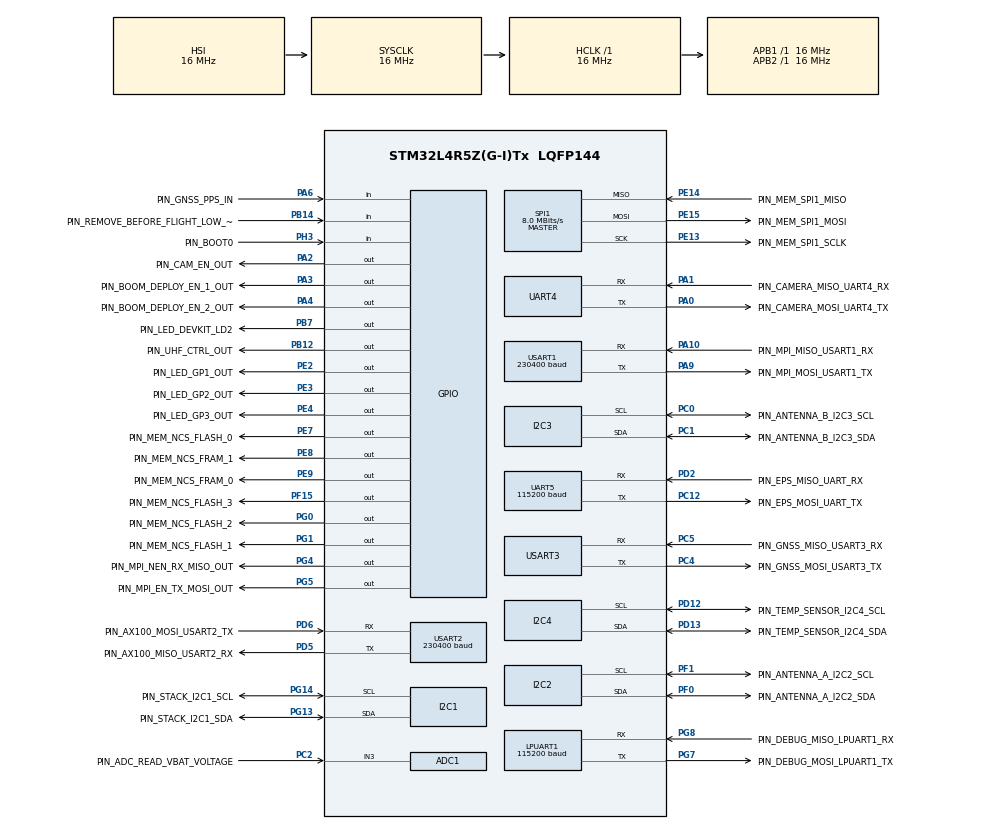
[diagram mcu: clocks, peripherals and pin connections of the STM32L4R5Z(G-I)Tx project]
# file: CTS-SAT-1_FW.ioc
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ADC1.Channel-0\#ChannelRegularConversion=ADC_CHANNEL_3
ADC1.ClockPrescaler=ADC_CLOCK_ASYNC_DIV8
ADC1.NbrOfConversionFlag=1
ADC1.OffsetNumber-0\#ChannelRegularConversion=ADC_OFFSET_NONE
ADC1.Rank-0\#ChannelRegularConversion=1
ADC1.SamplingTime-0\#ChannelRegularConversion=ADC_SAMPLETIME_2CYCLES_5
ADC1.master=1
Dma.Request0=USART1_RX
Dma.Request1=UART4_RX
Dma.Request2=SPI1_RX
Dma.Request3=SPI1_TX
Dma.SPI1_RX.2.Direction=DMA_PERIPH_TO_MEMORY
Dma.SPI1_RX.2.EventEnable=DISABLE
Dma.SPI1_RX.2.Instance=DMA1_Channel3
Dma.SPI1_RX.2.MemDataAlignment=DMA_MDATAALIGN_BYTE
Dma.SPI1_RX.2.MemInc=DMA_MINC_ENABLE
Dma.SPI1_RX.2.Mode=DMA_NORMAL
Dma.SPI1_RX.2.PeriphDataAlignment=DMA_PDATAALIGN_BYTE
Dma.SPI1_RX.2.PeriphInc=DMA_PINC_DISABLE
Dma.SPI1_RX.2.Polarity=HAL_DMAMUX_REQUEST_GEN_RISING
Dma.SPI1_RX.2.Priority=DMA_PRIORITY_LOW
Dma.SPI1_RX.2.RequestNumber=1
Dma.SPI1_RX.2.SignalID=NONE
Dma.SPI1_RX.2.SyncEnable=DISABLE
Dma.SPI1_RX.2.SyncPolarity=HAL_DMAMUX_SYNC_NO_EVENT
Dma.SPI1_RX.2.SyncRequestNumber=1
Dma.SPI1_RX.2.SyncSignalID=NONE
Dma.SPI1_TX.3.Direction=DMA_MEMORY_TO_PERIPH
Dma.SPI1_TX.3.EventEnable=DISABLE
Dma.SPI1_TX.3.Instance=DMA1_Channel4
Dma.SPI1_TX.3.MemDataAlignment=DMA_MDATAALIGN_BYTE
Dma.SPI1_TX.3.MemInc=DMA_MINC_ENABLE
Dma.SPI1_TX.3.Mode=DMA_NORMAL
Dma.SPI1_TX.3.PeriphDataAlignment=DMA_PDATAALIGN_BYTE
Dma.SPI1_TX.3.PeriphInc=DMA_PINC_DISABLE
Dma.SPI1_TX.3.Polarity=HAL_DMAMUX_REQUEST_GEN_RISING
Dma.SPI1_TX.3.Priority=DMA_PRIORITY_LOW
Dma.SPI1_TX.3.RequestNumber=1
Dma.SPI1_TX.3.SignalID=NONE
Dma.SPI1_TX.3.SyncEnable=DISABLE
Dma.SPI1_TX.3.SyncPolarity=HAL_DMAMUX_SYNC_NO_EVENT
Dma.SPI1_TX.3.SyncRequestNumber=1
Dma.SPI1_TX.3.SyncSignalID=NONE
Dma.UART4_RX.1.Direction=DMA_PERIPH_TO_MEMORY
Dma.UART4_RX.1.EventEnable=DISABLE
Dma.UART4_RX.1.Instance=DMA1_Channel1
Dma.UART4_RX.1.MemDataAlignment=DMA_MDATAALIGN_BYTE
Dma.UART4_RX.1.MemInc=DMA_MINC_ENABLE
Dma.UART4_RX.1.Mode=DMA_CIRCULAR
Dma.UART4_RX.1.PeriphDataAlignment=DMA_PDATAALIGN_BYTE
Dma.UART4_RX.1.PeriphInc=DMA_PINC_DISABLE
Dma.UART4_RX.1.Polarity=HAL_DMAMUX_REQUEST_GEN_RISING
Dma.UART4_RX.1.Priority=DMA_PRIORITY_LOW
Dma.UART4_RX.1.RequestNumber=1
Dma.UART4_RX.1.SignalID=NONE
Dma.UART4_RX.1.SyncEnable=DISABLE
Dma.UART4_RX.1.SyncPolarity=HAL_DMAMUX_SYNC_NO_EVENT
Dma.UART4_RX.1.SyncRequestNumber=1
Dma.UART4_RX.1.SyncSignalID=NONE
Dma.USART1_RX.0.Direction=DMA_PERIPH_TO_MEMORY
Dma.USART1_RX.0.EventEnable=DISABLE
Dma.USART1_RX.0.Instance=DMA1_Channel2
Dma.USART1_RX.0.MemDataAlignment=DMA_MDATAALIGN_BYTE
Dma.USART1_RX.0.MemInc=DMA_MINC_ENABLE
Dma.USART1_RX.0.Mode=DMA_CIRCULAR
Dma.USART1_RX.0.PeriphDataAlignment=DMA_PDATAALIGN_BYTE
Dma.USART1_RX.0.PeriphInc=DMA_PINC_DISABLE
Dma.USART1_RX.0.Polarity=HAL_DMAMUX_REQUEST_GEN_RISING
Dma.USART1_RX.0.Priority=DMA_PRIORITY_LOW
Dma.USART1_RX.0.RequestNumber=1
Dma.USART1_RX.0.SignalID=NONE
Dma.USART1_RX.0.SyncEnable=DISABLE
Dma.USART1_RX.0.SyncPolarity=HAL_DMAMUX_SYNC_NO_EVENT
Dma.USART1_RX.0.SyncRequestNumber=1
Dma.USART1_RX.0.SyncSignalID=NONE
FREERTOS.Tasks01=defaultTask,24,128,StartDefaultTask,Default,NULL,Dynamic,NULL,NULL
FREERTOS.configCHECK_FOR_STACK_OVERFLOW=1
FREERTOS.configGENERATE_RUN_TIME_STATS=1
FREERTOS.configLIBRARY_MAX_SYSCALL_INTERRUPT_PRIORITY=3
FREERTOS.configMAX_TASK_NAME_LEN=64
FREERTOS.configRECORD_STACK_HIGH_ADDRESS=1
FREERTOS.configTOTAL_HEAP_SIZE=131072
FREERTOS.configUSE_MALLOC_FAILED_HOOK=1
FREERTOS.configUSE_NEWLIB_REENTRANT=1
FREERTOS.configUSE_PREEMPTION=0
I2C1.OwnAddress=12
I2C1.Timing=0x00503D58
I2C2.Timing=0x00503D58
I2C3.Timing=0x00503D58
I2C4.Timing=0x00503D58
IWDG.Prescaler=IWDG_PRESCALER_256
IWDG.Reload=2000
IWDG.Window=1975
LPUART1.BaudRate=115200
LPUART1.FifoMode=UART_FIFOMODE_ENABLE
LPUART1.WordLength=UART_WORDLENGTH_8B
Mcu.Family=STM32L4
Mcu.Name=STM32L4R5Z(G-I)Tx
Mcu.Package=LQFP144
NVIC.DMA1_Channel1_IRQn=true\:5\:0\:true\:false\:true\:true\:false\:true\:true
NVIC.DMA1_Channel2_IRQn=true\:5\:0\:true\:false\:true\:true\:false\:true\:true
NVIC.DMA1_Channel3_IRQn=true\:5\:0\:true\:false\:true\:true\:false\:true\:true
NVIC.DMA1_Channel4_IRQn=true\:5\:0\:true\:false\:true\:true\:false\:true\:true
NVIC.I2C1_ER_IRQn=true\:5\:0\:true\:false\:true\:true\:true\:true\:true
NVIC.I2C1_EV_IRQn=true\:5\:0\:true\:false\:true\:true\:true\:true\:true
NVIC.LPUART1_IRQn=true\:4\:0\:true\:false\:true\:false\:true\:true\:true
NVIC.PriorityGroup=NVIC_PRIORITYGROUP_4
NVIC.SPI1_IRQn=true\:5\:0\:true\:false\:true\:true\:true\:true\:true
NVIC.TIM1_UP_TIM16_IRQn=true\:5\:0\:false\:false\:true\:false\:false\:true\:true
NVIC.TIM6_DAC_IRQn=true\:3\:0\:false\:false\:true\:true\:true\:true\:true
NVIC.TimeBase=TIM1_UP_TIM16_IRQn
NVIC.TimeBaseIP=TIM1
NVIC.UART5_IRQn=true\:5\:0\:true\:false\:true\:true\:true\:true\:true
NVIC.USART2_IRQn=true\:5\:0\:true\:false\:true\:true\:true\:true\:true
NVIC.USART3_IRQn=true\:5\:0\:true\:false\:true\:true\:true\:true\:true
PA0.GPIO_Label=PIN_CAMERA_MOSI_UART4_TX
PA0.Mode=Asynchronous
PA0.Signal=UART4_TX
PA1.GPIO_Label=PIN_CAMERA_MISO_UART4_RX
PA1.Mode=Asynchronous
PA1.Signal=UART4_RX
PA10.GPIO_Label=PIN_MPI_MISO_USART1_RX
PA10.Mode=Asynchronous
PA10.Signal=USART1_RX
PA13\ (JTMS/SWDIO).GPIO_Label=PIN_SWDIO
PA13\ (JTMS/SWDIO).Mode=Serial_Wire
PA13\ (JTMS/SWDIO).Signal=SYS_JTMS-SWDIO
PA14\ (JTCK/SWCLK).GPIO_Label=PIN_SWCLK
PA14\ (JTCK/SWCLK).Mode=Serial_Wire
PA14\ (JTCK/SWCLK).Signal=SYS_JTCK-SWCLK
PA2.GPIO_Label=PIN_CAM_EN_OUT
PA2.Signal=GPIO_Output
PA3.GPIO_Label=PIN_BOOM_DEPLOY_EN_1_OUT
PA3.Signal=GPIO_Output
PA4.GPIO_Label=PIN_BOOM_DEPLOY_EN_2_OUT
PA4.Signal=GPIO_Output
PA6.GPIO_Label=PIN_GNSS_PPS_IN
PA6.Signal=GPIO_Input
PA9.GPIO_Label=PIN_MPI_MOSI_USART1_TX
PA9.Mode=Asynchronous
PA9.Signal=USART1_TX
PB12.GPIO_Label=PIN_UHF_CTRL_OUT
PB12.Signal=GPIO_Output
PB14.GPIO_Label=PIN_REMOVE_BEFORE_FLIGHT_LOW_IS_FLYING_IN
PB14.Signal=GPIO_Input
PB3\ (JTDO/TRACESWO).GPIO_Label=PIN_SWO
PB3\ (JTDO/TRACESWO).Signal=SYS_JTDO-SWO
PB7.GPIO_Label=PIN_LED_DEVKIT_LD2
PB7.Signal=GPIO_Output
PC0.GPIO_Label=PIN_ANTENNA_B_I2C3_SCL
PC0.Mode=I2C
PC0.Signal=I2C3_SCL
PC1.GPIO_Label=PIN_ANTENNA_B_I2C3_SDA
PC1.Mode=I2C
PC1.Signal=I2C3_SDA
PC12.GPIO_Label=PIN_EPS_MOSI_UART_TX
PC12.Mode=Asynchronous
PC12.Signal=UART5_TX
PC14-OSC32_IN\ (PC14).GPIO_Label=PIN_PC14_OSC32_IN
PC14-OSC32_IN\ (PC14).Signal=RCC_OSC32_IN
PC2.GPIO_Label=PIN_ADC_READ_VBAT_VOLTAGE
PC2.Signal=ADCx_IN3
PC4.GPIO_Label=PIN_GNSS_MOSI_USART3_TX
PC4.Mode=Asynchronous
PC4.Signal=USART3_TX
PC5.GPIO_Label=PIN_GNSS_MISO_USART3_RX
PC5.Mode=Asynchronous
PC5.Signal=USART3_RX
PD12.GPIO_Label=PIN_TEMP_SENSOR_I2C4_SCL
PD12.Mode=I2C
PD12.Signal=I2C4_SCL
PD13.GPIO_Label=PIN_TEMP_SENSOR_I2C4_SDA
PD13.Mode=I2C
PD13.Signal=I2C4_SDA
PD2.GPIO_Label=PIN_EPS_MISO_UART_RX
PD2.Mode=Asynchronous
PD2.Signal=UART5_RX
PD5.GPIO_Label=PIN_AX100_MISO_USART2_RX
PD5.Mode=Asynchronous
PD5.Signal=USART2_TX
PD6.GPIO_Label=PIN_AX100_MOSI_USART2_TX
PD6.Mode=Asynchronous
PD6.Signal=USART2_RX
PE13.GPIO_Label=PIN_MEM_SPI1_SCLK
PE13.Mode=Full_Duplex_Master
PE13.Signal=SPI1_SCK
PE14.GPIO_Label=PIN_MEM_SPI1_MISO
PE14.Mode=Full_Duplex_Master
PE14.Signal=SPI1_MISO
PE15.GPIO_Label=PIN_MEM_SPI1_MOSI
PE15.Mode=Full_Duplex_Master
PE15.Signal=SPI1_MOSI
PE2.GPIO_Label=PIN_LED_GP1_OUT
PE2.Signal=GPIO_Output
PE3.GPIO_Label=PIN_LED_GP2_OUT
PE3.Signal=GPIO_Output
PE4.GPIO_Label=PIN_LED_GP3_OUT
PE4.Signal=GPIO_Output
PE7.GPIO_Label=PIN_MEM_NCS_FLASH_0
PE7.Signal=GPIO_Output
PE8.GPIO_Label=PIN_MEM_NCS_FRAM_1
PE8.Signal=GPIO_Output
PE9.GPIO_Label=PIN_MEM_NCS_FRAM_0
PE9.Signal=GPIO_Output
PF0.GPIO_Label=PIN_ANTENNA_A_I2C2_SDA
PF0.Mode=I2C
PF0.Signal=I2C2_SDA
PF1.GPIO_Label=PIN_ANTENNA_A_I2C2_SCL
PF1.Mode=I2C
PF1.Signal=I2C2_SCL
PF15.GPIO_Label=PIN_MEM_NCS_FLASH_3
PF15.Signal=GPIO_Output
PG0.GPIO_Label=PIN_MEM_NCS_FLASH_2
PG0.Signal=GPIO_Output
PG1.GPIO_Label=PIN_MEM_NCS_FLASH_1
PG1.Signal=GPIO_Output
PG13.GPIO_Label=PIN_STACK_I2C1_SDA
PG13.Mode=I2C
PG13.Signal=I2C1_SDA
PG14.GPIO_Label=PIN_STACK_I2C1_SCL
PG14.Mode=I2C
PG14.Signal=I2C1_SCL
PG4.GPIO_Label=PIN_MPI_NEN_RX_MISO_OUT
PG4.Signal=GPIO_Output
PG5.GPIO_Label=PIN_MPI_EN_TX_MOSI_OUT
PG5.Signal=GPIO_Output
PG7.GPIO_Label=PIN_DEBUG_MOSI_LPUART1_TX
PG7.Mode=Asynchronous
PG7.Signal=LPUART1_TX
PG8.GPIO_Label=PIN_DEBUG_MISO_LPUART1_RX
PG8.Mode=Asynchronous
PG8.Signal=LPUART1_RX
PH0-OSC_IN\ (PH0).GPIO_Label=PIN_PH0_OSC_IN
PH0-OSC_IN\ (PH0).Mode=HSE-External-Oscillator
PH0-OSC_IN\ (PH0).Signal=RCC_OSC_IN
PH1-OSC_OUT\ (PH1).Mode=HSE-External-Oscillator
PH1-OSC_OUT\ (PH1).Signal=RCC_OSC_OUT
PH3-BOOT0.GPIO_Label=PIN_BOOT0
PH3-BOOT0.Signal=GPIO_Input
ProjectManager.HeapSize=0x200
ProjectManager.StackSize=0x400
ProjectManager.TargetToolchain=Makefile
RCC.ADCFreq_Value=64000000
RCC.AHBFreq_Value=16000000
RCC.APB1Freq_Value=16000000
RCC.APB1TimFreq_Value=16000000
RCC.APB2Freq_Value=16000000
RCC.APB2TimFreq_Value=16000000
RCC.CortexFreq_Value=16000000
RCC.HCLKFreq_Value=16000000
RCC.HSE_VALUE=25000000
RCC.HSI48_VALUE=48000000
RCC.HSI_VALUE=16000000
RCC.I2C1CLockSelection=RCC_I2C1CLKSOURCE_HSI
RCC.I2C2CLockSelection=RCC_I2C2CLKSOURCE_HSI
RCC.I2C3CLockSelection=RCC_I2C3CLKSOURCE_HSI
RCC.I2C4CLockSelection=RCC_I2C4CLKSOURCE_HSI
RCC.LPUART1CLockSelection=RCC_LPUART1CLKSOURCE_HSI
RCC.LSE_VALUE=32768
RCC.MSI_VALUE=4000000
RCC.PLLN=12
RCC.PLLSourceVirtual=RCC_PLLSOURCE_HSI
RCC.SYSCLKFreq_VALUE=16000000
RCC.SYSCLKSource=RCC_SYSCLKSOURCE_HSI
RCC.UART4CLockSelection=RCC_UART4CLKSOURCE_HSI
RCC.UART5CLockSelection=RCC_UART5CLKSOURCE_HSI
RCC.USART1CLockSelection=RCC_USART1CLKSOURCE_HSI
RCC.USART2CLockSelection=RCC_USART2CLKSOURCE_HSI
RCC.USART3CLockSelection=RCC_USART3CLKSOURCE_HSI
RCC.USBFreq_Value=64000000
RCC.VCOOutputFreq_Value=192000000
SH.ADCx_IN3.0=ADC1_IN3,IN3-Single-Ended
SPI1.BaudRatePrescaler=SPI_BAUDRATEPRESCALER_2
SPI1.CalculateBaudRate=8.0 MBits/s
SPI1.DataSize=SPI_DATASIZE_8BIT
SPI1.Direction=SPI_DIRECTION_2LINES
SPI1.Mode=SPI_MODE_MASTER
SPI1.VirtualType=VM_MASTER
TIM6.Period=999
TIM6.Prescaler=15
UART4.FIFOMode=FIFOMODE_ENABLE
UART5.BaudRate=115200
UART5.FIFOMode=FIFOMODE_ENABLE
USART1.BaudRate=230400
USART1.FIFOMode=FIFOMODE_ENABLE
USART1.VirtualMode-Asynchronous=VM_ASYNC
USART2.BaudRate=230400
USART2.VirtualMode-Asynchronous=VM_ASYNC
USART3.FIFOMode=FIFOMODE_ENABLE
USART3.VirtualMode-Asynchronous=VM_ASYNC
VP_FREERTOS_VS_CMSIS_V2.Mode=CMSIS_V2
VP_IWDG_VS_IWDG.Mode=IWDG_Activate
VP_SYS_VS_tim1.Mode=TIM1
VP_TIM16_VS_ClockSourceINT.Mode=Enable_Timer
VP_TIM6_VS_ClockSourceINT.Mode=Enable_Timer
board=custom

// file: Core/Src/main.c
/* USER CODE BEGIN Header */
/**
  ******************************************************************************
  * @file           : main.c
  * @brief          : Main program body
  ******************************************************************************
  * @attention
  *
  * Copyright (c) 2024 STMicroelectronics.
  * All rights reserved.
  *
  * This software is licensed under terms that can be found in the LICENSE file
  * in the root directory of this software component.
  * If no LICENSE file comes with this software, it is provided AS-IS.
  *
  ******************************************************************************
  */
/* USER CODE END Header */
#include "main.h"
#include "cmsis_os.h"

/* USER CODE BEGIN Includes */

#include "debug_tools/debug_i2c.h"
#include "debug_tools/debug_uart.h"
#include "rtos_tasks/rtos_tasks.h"
#include "rtos_tasks/rtos_eps_watchdog.h"
#include "rtos_tasks/rtos_background_upkeep.h"
#include "rtos_tasks/rtos_tasks_rx_telecommands.h"
#include "rtos_tasks/rtos_bulk_downlink_task.h"
#include "rtos_tasks/rtos_bootup_operation_fsm_task.h"
#include "rtos_tasks/rtos_mpi_tasks.h"
#include "uart_handler/uart_handler.h"
#include "adcs_drivers/adcs_types.h"
#include "adcs_drivers/adcs_commands.h"
#include "littlefs/flash_driver.h"
#include "littlefs/littlefs_helper.h"
#include "system/system_bootup.h"
#include "eps_drivers/eps_time.h"
/* USER CODE END Includes */

ADC_HandleTypeDef hadc1;

I2C_HandleTypeDef hi2c1;
I2C_HandleTypeDef hi2c2;
I2C_HandleTypeDef hi2c3;
I2C_HandleTypeDef hi2c4;

IWDG_HandleTypeDef hiwdg;

UART_HandleTypeDef hlpuart1;
UART_HandleTypeDef huart4;
UART_HandleTypeDef huart5;
UART_HandleTypeDef huart1;
UART_HandleTypeDef huart2;
UART_HandleTypeDef huart3;
DMA_HandleTypeDef hdma_uart4_rx;
DMA_HandleTypeDef hdma_usart1_rx;

SPI_HandleTypeDef hspi1;
DMA_HandleTypeDef hdma_spi1_rx;
DMA_HandleTypeDef hdma_spi1_tx;

TIM_HandleTypeDef htim6;
TIM_HandleTypeDef htim16;

/* Definitions for defaultTask */
osThreadId_t defaultTaskHandle;
const osThreadAttr_t defaultTask_attributes = {
  .name = "defaultTask",
  .stack_size = 128 * 4,
  .priority = (osPriority_t) osPriorityNormal,
};
/* USER CODE BEGIN PV */

// The STM32 has 640 KB of RAM.
// For CTS-SAT-1, please create threads here (and not in the IOC file).
// Don't forget to add the thread much farther down, also.
// Per the IOC file, the "TOTAL_HEAP_SIZE" (where task stacks are allocated) is 65,536 bytes of RAM.

// 512 may work okay, but 1024 is a safe bet.
#define TASK_MINIMUM_STACK_SIZE_BYTES 1024

osThreadId_t TASK_service_eps_watchdog_Handle;
const osThreadAttr_t TASK_service_eps_watchdog_Attributes = {
  .name = "TASK_service_eps_watchdog",
  .stack_size = TASK_MINIMUM_STACK_SIZE_BYTES,
  .priority = (osPriority_t) osPriorityBelowNormal,
};

osThreadId_t TASK_DEBUG_print_heartbeat_Handle;
const osThreadAttr_t TASK_DEBUG_print_heartbeat_Attributes = {
  .name = "TASK_DEBUG_print_heartbeat",
  .stack_size = TASK_MINIMUM_STACK_SIZE_BYTES,
  .priority = (osPriority_t) osPriorityBelowNormal1,
};

osThreadId_t TASK_monitor_freertos_memory_Handle;
const osThreadAttr_t TASK_monitor_freertos_memory_Attributes = {
  .name = "TASK_monitor_freertos_memory",
  .stack_size = 2048,
  .priority = (osPriority_t) osPriorityBelowNormal2,
};

osThreadId_t TASK_background_upkeep_Handle;
const osThreadAttr_t TASK_background_upkeep_Attributes = {
  .name = "TASK_background_upkeep",
  .stack_size = 4096,
  .priority = (osPriority_t) osPriorityBelowNormal3,
};

osThreadId_t TASK_bootup_operation_fsm_Handle;
const osThreadAttr_t TASK_bootup_operation_fsm_Attributes = {
  .name = "TASK_bootup_operation_fsm",
  .stack_size = 4096,
  .priority = (osPriority_t) osPriorityBelowNormal5,
};

osThreadId_t TASK_bulk_downlink_Handle;
const osThreadAttr_t TASK_bulk_downlink_Attributes = {
  .name = "TASK_bulk_downlink",
  .stack_size = 4096,
  .priority = (osPriority_t) osPriorityAboveNormal2,
};

osThreadId_t TASK_handle_uart_telecommands_Handle;
const osThreadAttr_t TASK_handle_uart_telecommands_Attributes = {
  .name = "TASK_handle_uart_telecommands",
  .stack_size = 8192,
  .priority = (osPriority_t) osPriorityAboveNormal3,
};

osThreadId_t TASK_execute_telecommands_Handle;
const osThreadAttr_t TASK_execute_telecommands_Attributes = {
  .name = "TASK_execute_telecommands",
  .stack_size = 8192,
  .priority = (osPriority_t) osPriorityAboveNormal4,
};

osThreadId_t TASK_handle_ax100_kiss_telecommands_Handle;
const osThreadAttr_t TASK_handle_ax100_kiss_telecommands_Attributes = {
  .name = "TASK_handle_ax100_kiss_telecommands",
  .stack_size = 8192,
  .priority = (osPriority_t) osPriorityAboveNormal5,
};

osThreadId_t TASK_service_write_mpi_data_Handle;
const osThreadAttr_t TASK_service_write_mpi_data_Attributes = {
  .name = "TASK_service_write_mpi_data",
  .stack_size = 2048,
  .priority = (osPriority_t) osPriorityAboveNormal6,
};

FREERTOS_task_info_struct_t FREERTOS_task_handles_array [] = {
  {
    .task_handle = &defaultTaskHandle,
    .task_attribute = &defaultTask_attributes,
    .lowest_stack_bytes_remaining = UINT32_MAX
  },
  {
    .task_handle = &TASK_DEBUG_print_heartbeat_Handle,
    .task_attribute = &TASK_DEBUG_print_heartbeat_Attributes,
    .lowest_stack_bytes_remaining = UINT32_MAX
  },
  {
    .task_handle = &TASK_handle_uart_telecommands_Handle,
    .task_attribute = &TASK_handle_uart_telecommands_Attributes,
    .lowest_stack_bytes_remaining = UINT32_MAX
  },
  {
    .task_handle = &TASK_handle_ax100_kiss_telecommands_Handle,
    .task_attribute = &TASK_handle_ax100_kiss_telecommands_Attributes,
    .lowest_stack_bytes_remaining = UINT32_MAX
  },
  {
    .task_handle = &TASK_bulk_downlink_Handle,
    .task_attribute = &TASK_bulk_downlink_Attributes,
    .lowest_stack_bytes_remaining = UINT32_MAX
  },
  {
    .task_handle = &TASK_execute_telecommands_Handle,
    .task_attribute = &TASK_execute_telecommands_Attributes,
    .lowest_stack_bytes_remaining = UINT32_MAX
  },
  {
    .task_handle = &TASK_service_eps_watchdog_Handle,
    .task_attribute = &TASK_service_eps_watchdog_Attributes,
    .lowest_stack_bytes_remaining = UINT32_MAX
  },
  {
    .task_handle = &TASK_bootup_operation_fsm_Handle,
    .task_attribute = &TASK_bootup_operation_fsm_Attributes,
    .lowest_stack_bytes_remaining = UINT32_MAX
  },
  {
    .task_handle = &TASK_service_write_mpi_data_Handle,
    .task_attribute = &TASK_service_write_mpi_data_Attributes,
    .lowest_stack_bytes_remaining = UINT32_MAX
  },
  {
    .task_handle = &TASK_monitor_freertos_memory_Handle,
    .task_attribute = &TASK_monitor_freertos_memory_Attributes,
    .lowest_stack_bytes_remaining = UINT32_MAX
  },
  {
    .task_handle = &TASK_background_upkeep_Handle,
    .task_attribute = &TASK_background_upkeep_Attributes,
    .lowest_stack_bytes_remaining = UINT32_MAX
  },
};

const uint32_t FREERTOS_task_handles_array_size = sizeof(FREERTOS_task_handles_array) / sizeof(FREERTOS_task_info_struct_t);

/* USER CODE END PV */

void SystemClock_Config(void);
static void MX_GPIO_Init(void);
static void MX_DMA_Init(void);
static void MX_I2C1_Init(void);
static void MX_I2C2_Init(void);
static void MX_I2C4_Init(void);
static void MX_LPUART1_UART_Init(void);
static void MX_UART4_Init(void);
static void MX_UART5_Init(void);
static void MX_USART1_UART_Init(void);
static void MX_USART3_UART_Init(void);
static void MX_SPI1_Init(void);
static void MX_I2C3_Init(void);
static void MX_TIM16_Init(void);
static void MX_IWDG_Init(void);
static void MX_USART2_UART_Init(void);
static void MX_ADC1_Init(void);
static void MX_TIM6_Init(void);
void StartDefaultTask(void *argument);

int main(void)
{

  /* MCU Configuration--------------------------------------------------------*/

  /* Reset of all peripherals, Initializes the Flash interface and the Systick. */
  HAL_Init();

  /* Configure the system clock */
  SystemClock_Config();

  /* USER CODE BEGIN SysInit */

  // Wait 20ms for things to stabilize. Attempt at avoiding failure to boot.
  // Didn't appear to make a big difference. Still seems reasonable.
  HAL_Delay(20);

  /* USER CODE END SysInit */

  /* Initialize all configured peripherals */
  MX_GPIO_Init();
  MX_DMA_Init();
  MX_I2C1_Init();
  MX_I2C2_Init();
  MX_I2C4_Init();
  MX_LPUART1_UART_Init();
  MX_UART4_Init();
  MX_UART5_Init();
  MX_USART1_UART_Init();
  MX_USART3_UART_Init();
  MX_SPI1_Init();
  MX_I2C3_Init();
  MX_TIM16_Init();
  MX_IWDG_Init();
  MX_USART2_UART_Init();
  MX_ADC1_Init();
  MX_TIM6_Init();
  /* USER CODE BEGIN 2 */

  // Enable the TIM6 callback to provide 1ms timebase.
  HAL_TIM_Base_Start_IT(&htim6);

  DEBUG_uart_print_str("\n\nMX_Init() done\n");

  // Start the callback interrupts for the UART channels.
  UART_init_uart_handlers();

  EPS_set_obc_time_based_on_eps_time(); // Sync approx time for ADCS.

  // Always leave the Camera enable signal enabled. Easier to control it through just the EPS.
  HAL_GPIO_WritePin(PIN_CAM_EN_OUT_GPIO_Port, PIN_CAM_EN_OUT_Pin, GPIO_PIN_SET);

  // Disable systems on bootup
  SYS_disable_systems_bootup();

  /* USER CODE END 2 */

  /* Init scheduler */
  osKernelInitialize();

  /* USER CODE BEGIN RTOS_MUTEX */
  /* add mutexes, ... */

  // Must wait until FreeRTOS heap is initialized and ready-to-use before we should call LFS_init().
  LFS_init();

  // Initialize the ADCS CRC8 checksum and LittleFS directory (required for ADCS operation).
  // Note: LittleFS must be formatted and mounted.
  ADCS_initialize();

  /* USER CODE END RTOS_MUTEX */

  /* Create the thread(s) */
  /* creation of defaultTask */
  defaultTaskHandle = osThreadNew(StartDefaultTask, NULL, &defaultTask_attributes);

  /* USER CODE BEGIN RTOS_THREADS */
  TASK_DEBUG_print_heartbeat_Handle = osThreadNew(TASK_DEBUG_print_heartbeat, NULL, &TASK_DEBUG_print_heartbeat_Attributes);

  TASK_handle_uart_telecommands_Handle = osThreadNew(TASK_handle_uart_telecommands, NULL, &TASK_handle_uart_telecommands_Attributes);

  TASK_handle_ax100_kiss_telecommands_Handle = osThreadNew(TASK_handle_ax100_kiss_telecommands, NULL, &TASK_handle_ax100_kiss_telecommands_Attributes);

  TASK_bulk_downlink_Handle = osThreadNew(TASK_bulk_downlink, NULL, &TASK_bulk_downlink_Attributes);

  TASK_execute_telecommands_Handle = osThreadNew(TASK_execute_telecommands, NULL, &TASK_execute_telecommands_Attributes);

  TASK_monitor_freertos_memory_Handle = osThreadNew(TASK_monitor_freertos_memory, NULL, &TASK_monitor_freertos_memory_Attributes);

  TASK_service_eps_watchdog_Handle = osThreadNew(TASK_service_eps_watchdog, NULL, &TASK_service_eps_watchdog_Attributes);

  TASK_bootup_operation_fsm_Handle = osThreadNew(TASK_bootup_operation_fsm, NULL, &TASK_bootup_operation_fsm_Attributes);

  TASK_service_write_mpi_data_Handle = osThreadNew(TASK_service_write_mpi_data, NULL, &TASK_service_write_mpi_data_Attributes);

  TASK_background_upkeep_Handle = osThreadNew(TASK_background_upkeep, NULL, &TASK_background_upkeep_Attributes);

  /* USER CODE END RTOS_THREADS */

  /* Start scheduler */
  osKernelStart();

  /* We should never get here as control is now taken by the scheduler */

  /* Infinite loop */
  /* USER CODE BEGIN WHILE */
  while (1)
  {
    DEBUG_uart_print_str("This superloop point should never be reached, because the FreeRTOS Kernel is running...\n");
    /* USER CODE END WHILE */

  }
}

void SystemClock_Config(void)
{
  RCC_OscInitTypeDef RCC_OscInitStruct = {0};
  RCC_ClkInitTypeDef RCC_ClkInitStruct = {0};

  /** Configure the main internal regulator output voltage
  */
  if (HAL_PWREx_ControlVoltageScaling(PWR_REGULATOR_VOLTAGE_SCALE1) != HAL_OK)
  {
    Error_Handler();
  }

  /** Initializes the RCC Oscillators according to the specified parameters
  * in the RCC_OscInitTypeDef structure.
  */
  RCC_OscInitStruct.OscillatorType = RCC_OSCILLATORTYPE_HSI|RCC_OSCILLATORTYPE_LSI;
  RCC_OscInitStruct.HSIState = RCC_HSI_ON;
  RCC_OscInitStruct.HSICalibrationValue = RCC_HSICALIBRATION_DEFAULT;
  RCC_OscInitStruct.LSIState = RCC_LSI_ON;
  RCC_OscInitStruct.PLL.PLLState = RCC_PLL_NONE;
  if (HAL_RCC_OscConfig(&RCC_OscInitStruct) != HAL_OK)
  {
    Error_Handler();
  }

  /** Initializes the CPU, AHB and APB buses clocks
  */
  RCC_ClkInitStruct.ClockType = RCC_CLOCKTYPE_HCLK|RCC_CLOCKTYPE_SYSCLK
                              |RCC_CLOCKTYPE_PCLK1|RCC_CLOCKTYPE_PCLK2;
  RCC_ClkInitStruct.SYSCLKSource = RCC_SYSCLKSOURCE_HSI;
  RCC_ClkInitStruct.AHBCLKDivider = RCC_SYSCLK_DIV1;
  RCC_ClkInitStruct.APB1CLKDivider = RCC_HCLK_DIV1;
  RCC_ClkInitStruct.APB2CLKDivider = RCC_HCLK_DIV1;

  if (HAL_RCC_ClockConfig(&RCC_ClkInitStruct, FLASH_LATENCY_0) != HAL_OK)
  {
    Error_Handler();
  }
}

static void MX_ADC1_Init(void)
{

  ADC_ChannelConfTypeDef sConfig = {0};

  /** Common config
  */
  hadc1.Instance = ADC1;
  hadc1.Init.ClockPrescaler = ADC_CLOCK_ASYNC_DIV8;
  hadc1.Init.Resolution = ADC_RESOLUTION_12B;
  hadc1.Init.DataAlign = ADC_DATAALIGN_RIGHT;
  hadc1.Init.ScanConvMode = ADC_SCAN_DISABLE;
  hadc1.Init.EOCSelection = ADC_EOC_SINGLE_CONV;
  hadc1.Init.LowPowerAutoWait = DISABLE;
  hadc1.Init.ContinuousConvMode = DISABLE;
  hadc1.Init.NbrOfConversion = 1;
  hadc1.Init.DiscontinuousConvMode = DISABLE;
  hadc1.Init.ExternalTrigConv = ADC_SOFTWARE_START;
  hadc1.Init.ExternalTrigConvEdge = ADC_EXTERNALTRIGCONVEDGE_NONE;
  hadc1.Init.DMAContinuousRequests = DISABLE;
  hadc1.Init.Overrun = ADC_OVR_DATA_PRESERVED;
  hadc1.Init.OversamplingMode = DISABLE;
  if (HAL_ADC_Init(&hadc1) != HAL_OK)
  {
    Error_Handler();
  }

  /** Configure Regular Channel
  */
  sConfig.Channel = ADC_CHANNEL_3;
  sConfig.Rank = ADC_REGULAR_RANK_1;
  sConfig.SamplingTime = ADC_SAMPLETIME_2CYCLES_5;
  sConfig.SingleDiff = ADC_SINGLE_ENDED;
  sConfig.OffsetNumber = ADC_OFFSET_NONE;
  sConfig.Offset = 0;
  if (HAL_ADC_ConfigChannel(&hadc1, &sConfig) != HAL_OK)
  {
    Error_Handler();
  }

}

static void MX_I2C1_Init(void)
{

  hi2c1.Instance = I2C1;
  hi2c1.Init.Timing = 0x00503D58;
  hi2c1.Init.OwnAddress1 = 24;
  hi2c1.Init.AddressingMode = I2C_ADDRESSINGMODE_7BIT;
  hi2c1.Init.DualAddressMode = I2C_DUALADDRESS_DISABLE;
  hi2c1.Init.OwnAddress2 = 0;
  hi2c1.Init.OwnAddress2Masks = I2C_OA2_NOMASK;
  hi2c1.Init.GeneralCallMode = I2C_GENERALCALL_DISABLE;
  hi2c1.Init.NoStretchMode = I2C_NOSTRETCH_DISABLE;
  if (HAL_I2C_Init(&hi2c1) != HAL_OK)
  {
    Error_Handler();
  }

  /** Configure Analogue filter
  */
  if (HAL_I2CEx_ConfigAnalogFilter(&hi2c1, I2C_ANALOGFILTER_ENABLE) != HAL_OK)
  {
    Error_Handler();
  }

  /** Configure Digital filter
  */
  if (HAL_I2CEx_ConfigDigitalFilter(&hi2c1, 0) != HAL_OK)
  {
    Error_Handler();
  }

}

static void MX_I2C2_Init(void)
{

  hi2c2.Instance = I2C2;
  hi2c2.Init.Timing = 0x00503D58;
  hi2c2.Init.OwnAddress1 = 0;
  hi2c2.Init.AddressingMode = I2C_ADDRESSINGMODE_7BIT;
  hi2c2.Init.DualAddressMode = I2C_DUALADDRESS_DISABLE;
  hi2c2.Init.OwnAddress2 = 0;
  hi2c2.Init.OwnAddress2Masks = I2C_OA2_NOMASK;
  hi2c2.Init.GeneralCallMode = I2C_GENERALCALL_DISABLE;
  hi2c2.Init.NoStretchMode = I2C_NOSTRETCH_DISABLE;
  if (HAL_I2C_Init(&hi2c2) != HAL_OK)
  {
    Error_Handler();
  }

  /** Configure Analogue filter
  */
  if (HAL_I2CEx_ConfigAnalogFilter(&hi2c2, I2C_ANALOGFILTER_ENABLE) != HAL_OK)
  {
    Error_Handler();
  }

  /** Configure Digital filter
  */
  if (HAL_I2CEx_ConfigDigitalFilter(&hi2c2, 0) != HAL_OK)
  {
    Error_Handler();
  }

}

static void MX_I2C3_Init(void)
{

  hi2c3.Instance = I2C3;
  hi2c3.Init.Timing = 0x00503D58;
  hi2c3.Init.OwnAddress1 = 0;
  hi2c3.Init.AddressingMode = I2C_ADDRESSINGMODE_7BIT;
  hi2c3.Init.DualAddressMode = I2C_DUALADDRESS_DISABLE;
  hi2c3.Init.OwnAddress2 = 0;
  hi2c3.Init.OwnAddress2Masks = I2C_OA2_NOMASK;
  hi2c3.Init.GeneralCallMode = I2C_GENERALCALL_DISABLE;
  hi2c3.Init.NoStretchMode = I2C_NOSTRETCH_DISABLE;
  if (HAL_I2C_Init(&hi2c3) != HAL_OK)
  {
    Error_Handler();
  }

  /** Configure Analogue filter
  */
  if (HAL_I2CEx_ConfigAnalogFilter(&hi2c3, I2C_ANALOGFILTER_ENABLE) != HAL_OK)
  {
    Error_Handler();
  }

  /** Configure Digital filter
  */
  if (HAL_I2CEx_ConfigDigitalFilter(&hi2c3, 0) != HAL_OK)
  {
    Error_Handler();
  }

}

static void MX_I2C4_Init(void)
{

  hi2c4.Instance = I2C4;
  hi2c4.Init.Timing = 0x00503D58;
  hi2c4.Init.OwnAddress1 = 0;
  hi2c4.Init.AddressingMode = I2C_ADDRESSINGMODE_7BIT;
  hi2c4.Init.DualAddressMode = I2C_DUALADDRESS_DISABLE;
  hi2c4.Init.OwnAddress2 = 0;
  hi2c4.Init.OwnAddress2Masks = I2C_OA2_NOMASK;
  hi2c4.Init.GeneralCallMode = I2C_GENERALCALL_DISABLE;
  hi2c4.Init.NoStretchMode = I2C_NOSTRETCH_DISABLE;
  if (HAL_I2C_Init(&hi2c4) != HAL_OK)
  {
    Error_Handler();
  }

  /** Configure Analogue filter
  */
  if (HAL_I2CEx_ConfigAnalogFilter(&hi2c4, I2C_ANALOGFILTER_ENABLE) != HAL_OK)
  {
    Error_Handler();
  }

  /** Configure Digital filter
  */
  if (HAL_I2CEx_ConfigDigitalFilter(&hi2c4, 0) != HAL_OK)
  {
    Error_Handler();
  }

}

static void MX_IWDG_Init(void)
{

  hiwdg.Instance = IWDG;
  hiwdg.Init.Prescaler = IWDG_PRESCALER_256;
  hiwdg.Init.Window = 1975;
  hiwdg.Init.Reload = 2000;
  if (HAL_IWDG_Init(&hiwdg) != HAL_OK)
  {
    Error_Handler();
  }

}

static void MX_LPUART1_UART_Init(void)
{

  hlpuart1.Instance = LPUART1;
  hlpuart1.Init.BaudRate = 115200;
  hlpuart1.Init.WordLength = UART_WORDLENGTH_8B;
  hlpuart1.Init.StopBits = UART_STOPBITS_1;
  hlpuart1.Init.Parity = UART_PARITY_NONE;
  hlpuart1.Init.Mode = UART_MODE_TX_RX;
  hlpuart1.Init.HwFlowCtl = UART_HWCONTROL_NONE;
  hlpuart1.Init.OneBitSampling = UART_ONE_BIT_SAMPLE_DISABLE;
  hlpuart1.Init.ClockPrescaler = UART_PRESCALER_DIV1;
  hlpuart1.AdvancedInit.AdvFeatureInit = UART_ADVFEATURE_NO_INIT;
  hlpuart1.FifoMode = UART_FIFOMODE_ENABLE;
  if (HAL_UART_Init(&hlpuart1) != HAL_OK)
  {
    Error_Handler();
  }
  if (HAL_UARTEx_SetTxFifoThreshold(&hlpuart1, UART_TXFIFO_THRESHOLD_1_8) != HAL_OK)
  {
    Error_Handler();
  }
  if (HAL_UARTEx_SetRxFifoThreshold(&hlpuart1, UART_RXFIFO_THRESHOLD_1_8) != HAL_OK)
  {
    Error_Handler();
  }
  if (HAL_UARTEx_EnableFifoMode(&hlpuart1) != HAL_OK)
  {
    Error_Handler();
  }

}

static void MX_UART4_Init(void)
{

  huart4.Instance = UART4;
  huart4.Init.BaudRate = 115200;
  huart4.Init.WordLength = UART_WORDLENGTH_8B;
  huart4.Init.StopBits = UART_STOPBITS_1;
  huart4.Init.Parity = UART_PARITY_NONE;
  huart4.Init.Mode = UART_MODE_TX_RX;
  huart4.Init.HwFlowCtl = UART_HWCONTROL_NONE;
  huart4.Init.OverSampling = UART_OVERSAMPLING_16;
  huart4.Init.OneBitSampling = UART_ONE_BIT_SAMPLE_DISABLE;
  huart4.Init.ClockPrescaler = UART_PRESCALER_DIV1;
  huart4.AdvancedInit.AdvFeatureInit = UART_ADVFEATURE_NO_INIT;
  if (HAL_UART_Init(&huart4) != HAL_OK)
  {
    Error_Handler();
  }
  if (HAL_UARTEx_SetTxFifoThreshold(&huart4, UART_TXFIFO_THRESHOLD_1_8) != HAL_OK)
  {
    Error_Handler();
  }
  if (HAL_UARTEx_SetRxFifoThreshold(&huart4, UART_RXFIFO_THRESHOLD_1_8) != HAL_OK)
  {
    Error_Handler();
  }
  if (HAL_UARTEx_EnableFifoMode(&huart4) != HAL_OK)
  {
    Error_Handler();
  }

}

static void MX_UART5_Init(void)
{

  huart5.Instance = UART5;
  huart5.Init.BaudRate = 115200;
  huart5.Init.WordLength = UART_WORDLENGTH_8B;
  huart5.Init.StopBits = UART_STOPBITS_1;
  huart5.Init.Parity = UART_PARITY_NONE;
  huart5.Init.Mode = UART_MODE_TX_RX;
  huart5.Init.HwFlowCtl = UART_HWCONTROL_NONE;
  huart5.Init.OverSampling = UART_OVERSAMPLING_16;
  huart5.Init.OneBitSampling = UART_ONE_BIT_SAMPLE_DISABLE;
  huart5.Init.ClockPrescaler = UART_PRESCALER_DIV1;
  huart5.AdvancedInit.AdvFeatureInit = UART_ADVFEATURE_NO_INIT;
  if (HAL_UART_Init(&huart5) != HAL_OK)
  {
    Error_Handler();
  }
  if (HAL_UARTEx_SetTxFifoThreshold(&huart5, UART_TXFIFO_THRESHOLD_1_8) != HAL_OK)
  {
    Error_Handler();
  }
  if (HAL_UARTEx_SetRxFifoThreshold(&huart5, UART_RXFIFO_THRESHOLD_1_8) != HAL_OK)
  {
    Error_Handler();
  }
  if (HAL_UARTEx_EnableFifoMode(&huart5) != HAL_OK)
  {
    Error_Handler();
  }

}

static void MX_USART1_UART_Init(void)
{

  huart1.Instance = USART1;
  huart1.Init.BaudRate = 230400;
  huart1.Init.WordLength = UART_WORDLENGTH_8B;
  huart1.Init.StopBits = UART_STOPBITS_1;
  huart1.Init.Parity = UART_PARITY_NONE;
  huart1.Init.Mode = UART_MODE_TX_RX;
  huart1.Init.HwFlowCtl = UART_HWCONTROL_NONE;
  huart1.Init.OverSampling = UART_OVERSAMPLING_16;
  huart1.Init.OneBitSampling = UART_ONE_BIT_SAMPLE_DISABLE;
  huart1.Init.ClockPrescaler = UART_PRESCALER_DIV1;
  huart1.AdvancedInit.AdvFeatureInit = UART_ADVFEATURE_NO_INIT;
  if (HAL_UART_Init(&huart1) != HAL_OK)
  {
    Error_Handler();
  }
  if (HAL_UARTEx_SetTxFifoThreshold(&huart1, UART_TXFIFO_THRESHOLD_1_8) != HAL_OK)
  {
    Error_Handler();
  }
  if (HAL_UARTEx_SetRxFifoThreshold(&huart1, UART_RXFIFO_THRESHOLD_1_8) != HAL_OK)
  {
    Error_Handler();
  }
  if (HAL_UARTEx_EnableFifoMode(&huart1) != HAL_OK)
  {
    Error_Handler();
  }

}

static void MX_USART2_UART_Init(void)
{

  huart2.Instance = USART2;
  huart2.Init.BaudRate = 230400;
  huart2.Init.WordLength = UART_WORDLENGTH_8B;
  huart2.Init.StopBits = UART_STOPBITS_1;
  huart2.Init.Parity = UART_PARITY_NONE;
  huart2.Init.Mode = UART_MODE_TX_RX;
  huart2.Init.HwFlowCtl = UART_HWCONTROL_NONE;
  huart2.Init.OverSampling = UART_OVERSAMPLING_16;
  huart2.Init.OneBitSampling = UART_ONE_BIT_SAMPLE_DISABLE;
  huart2.Init.ClockPrescaler = UART_PRESCALER_DIV1;
  huart2.AdvancedInit.AdvFeatureInit = UART_ADVFEATURE_NO_INIT;
  if (HAL_UART_Init(&huart2) != HAL_OK)
  {
    Error_Handler();
  }
  if (HAL_UARTEx_SetTxFifoThreshold(&huart2, UART_TXFIFO_THRESHOLD_1_8) != HAL_OK)
  {
    Error_Handler();
  }
  if (HAL_UARTEx_SetRxFifoThreshold(&huart2, UART_RXFIFO_THRESHOLD_1_8) != HAL_OK)
  {
    Error_Handler();
  }
  if (HAL_UARTEx_DisableFifoMode(&huart2) != HAL_OK)
  {
    Error_Handler();
  }

}

static void MX_USART3_UART_Init(void)
{

  huart3.Instance = USART3;
  huart3.Init.BaudRate = 115200;
  huart3.Init.WordLength = UART_WORDLENGTH_8B;
  huart3.Init.StopBits = UART_STOPBITS_1;
  huart3.Init.Parity = UART_PARITY_NONE;
  huart3.Init.Mode = UART_MODE_TX_RX;
  huart3.Init.HwFlowCtl = UART_HWCONTROL_NONE;
  huart3.Init.OverSampling = UART_OVERSAMPLING_16;
  huart3.Init.OneBitSampling = UART_ONE_BIT_SAMPLE_DISABLE;
  huart3.Init.ClockPrescaler = UART_PRESCALER_DIV1;
  huart3.AdvancedInit.AdvFeatureInit = UART_ADVFEATURE_NO_INIT;
  if (HAL_UART_Init(&huart3) != HAL_OK)
  {
    Error_Handler();
  }
  if (HAL_UARTEx_SetTxFifoThreshold(&huart3, UART_TXFIFO_THRESHOLD_1_8) != HAL_OK)
  {
    Error_Handler();
  }
  if (HAL_UARTEx_SetRxFifoThreshold(&huart3, UART_RXFIFO_THRESHOLD_1_8) != HAL_OK)
  {
    Error_Handler();
  }
  if (HAL_UARTEx_EnableFifoMode(&huart3) != HAL_OK)
  {
    Error_Handler();
  }

}

static void MX_SPI1_Init(void)
{

  /* SPI1 parameter configuration*/
  hspi1.Instance = SPI1;
  hspi1.Init.Mode = SPI_MODE_MASTER;
  hspi1.Init.Direction = SPI_DIRECTION_2LINES;
  hspi1.Init.DataSize = SPI_DATASIZE_8BIT;
  hspi1.Init.CLKPolarity = SPI_POLARITY_LOW;
  hspi1.Init.CLKPhase = SPI_PHASE_1EDGE;
  hspi1.Init.NSS = SPI_NSS_SOFT;
  hspi1.Init.BaudRatePrescaler = SPI_BAUDRATEPRESCALER_2;
  hspi1.Init.FirstBit = SPI_FIRSTBIT_MSB;
  hspi1.Init.TIMode = SPI_TIMODE_DISABLE;
  hspi1.Init.CRCCalculation = SPI_CRCCALCULATION_DISABLE;
  hspi1.Init.CRCPolynomial = 7;
  hspi1.Init.CRCLength = SPI_CRC_LENGTH_DATASIZE;
  hspi1.Init.NSSPMode = SPI_NSS_PULSE_ENABLE;
  if (HAL_SPI_Init(&hspi1) != HAL_OK)
  {
    Error_Handler();
  }

}

static void MX_TIM6_Init(void)
{

  TIM_MasterConfigTypeDef sMasterConfig = {0};

  htim6.Instance = TIM6;
  htim6.Init.Prescaler = 15;
  htim6.Init.CounterMode = TIM_COUNTERMODE_UP;
  htim6.Init.Period = 999;
  htim6.Init.AutoReloadPreload = TIM_AUTORELOAD_PRELOAD_DISABLE;
  if (HAL_TIM_Base_Init(&htim6) != HAL_OK)
  {
    Error_Handler();
  }
  sMasterConfig.MasterOutputTrigger = TIM_TRGO_RESET;
  sMasterConfig.MasterSlaveMode = TIM_MASTERSLAVEMODE_DISABLE;
  if (HAL_TIMEx_MasterConfigSynchronization(&htim6, &sMasterConfig) != HAL_OK)
  {
    Error_Handler();
  }

}

static void MX_TIM16_Init(void)
{

  htim16.Instance = TIM16;
  htim16.Init.Prescaler = 0;
  htim16.Init.CounterMode = TIM_COUNTERMODE_UP;
  htim16.Init.Period = 65535;
  htim16.Init.ClockDivision = TIM_CLOCKDIVISION_DIV1;
  htim16.Init.RepetitionCounter = 0;
  htim16.Init.AutoReloadPreload = TIM_AUTORELOAD_PRELOAD_DISABLE;
  if (HAL_TIM_Base_Init(&htim16) != HAL_OK)
  {
    Error_Handler();
  }

}

static void MX_DMA_Init(void)
{

  /* DMA controller clock enable */
  __HAL_RCC_DMAMUX1_CLK_ENABLE();
  __HAL_RCC_DMA1_CLK_ENABLE();

  /* DMA interrupt init */
  /* DMA1_Channel1_IRQn interrupt configuration */
  HAL_NVIC_SetPriority(DMA1_Channel1_IRQn, 5, 0);
  HAL_NVIC_EnableIRQ(DMA1_Channel1_IRQn);
  /* DMA1_Channel2_IRQn interrupt configuration */
  HAL_NVIC_SetPriority(DMA1_Channel2_IRQn, 5, 0);
  HAL_NVIC_EnableIRQ(DMA1_Channel2_IRQn);
  /* DMA1_Channel3_IRQn interrupt configuration */
  HAL_NVIC_SetPriority(DMA1_Channel3_IRQn, 5, 0);
  HAL_NVIC_EnableIRQ(DMA1_Channel3_IRQn);
  /* DMA1_Channel4_IRQn interrupt configuration */
  HAL_NVIC_SetPriority(DMA1_Channel4_IRQn, 5, 0);
  HAL_NVIC_EnableIRQ(DMA1_Channel4_IRQn);

}

static void MX_GPIO_Init(void)
{
  GPIO_InitTypeDef GPIO_InitStruct = {0};

  /* GPIO Ports Clock Enable */
  __HAL_RCC_GPIOE_CLK_ENABLE();
  __HAL_RCC_GPIOC_CLK_ENABLE();
  __HAL_RCC_GPIOF_CLK_ENABLE();
  __HAL_RCC_GPIOH_CLK_ENABLE();
  __HAL_RCC_GPIOA_CLK_ENABLE();
  __HAL_RCC_GPIOG_CLK_ENABLE();
  __HAL_RCC_GPIOB_CLK_ENABLE();
  __HAL_RCC_GPIOD_CLK_ENABLE();
  HAL_PWREx_EnableVddIO2();

  /*Configure GPIO pin Output Level */
  HAL_GPIO_WritePin(GPIOE, PIN_LED_GP1_OUT_Pin|PIN_LED_GP2_OUT_Pin|PIN_LED_GP3_OUT_Pin|PIN_MEM_NCS_FLASH_0_Pin
                          |PIN_MEM_NCS_FRAM_1_Pin|PIN_MEM_NCS_FRAM_0_Pin, GPIO_PIN_RESET);

  /*Configure GPIO pin Output Level */
  HAL_GPIO_WritePin(GPIOA, PIN_CAM_EN_OUT_Pin|PIN_BOOM_DEPLOY_EN_1_OUT_Pin|PIN_BOOM_DEPLOY_EN_2_OUT_Pin, GPIO_PIN_RESET);

  /*Configure GPIO pin Output Level */
  HAL_GPIO_WritePin(PIN_MEM_NCS_FLASH_3_GPIO_Port, PIN_MEM_NCS_FLASH_3_Pin, GPIO_PIN_RESET);

  /*Configure GPIO pin Output Level */
  HAL_GPIO_WritePin(GPIOG, PIN_MEM_NCS_FLASH_2_Pin|PIN_MEM_NCS_FLASH_1_Pin|PIN_MPI_NEN_RX_MISO_OUT_Pin|PIN_MPI_EN_TX_MOSI_OUT_Pin, GPIO_PIN_RESET);

  /*Configure GPIO pin Output Level */
  HAL_GPIO_WritePin(GPIOB, PIN_UHF_CTRL_OUT_Pin|PIN_LED_DEVKIT_LD2_Pin, GPIO_PIN_RESET);

  /*Configure GPIO pins : PIN_LED_GP1_OUT_Pin PIN_LED_GP2_OUT_Pin PIN_LED_GP3_OUT_Pin PIN_MEM_NCS_FLASH_0_Pin
                           PIN_MEM_NCS_FRAM_1_Pin PIN_MEM_NCS_FRAM_0_Pin */
  GPIO_InitStruct.Pin = PIN_LED_GP1_OUT_Pin|PIN_LED_GP2_OUT_Pin|PIN_LED_GP3_OUT_Pin|PIN_MEM_NCS_FLASH_0_Pin
                          |PIN_MEM_NCS_FRAM_1_Pin|PIN_MEM_NCS_FRAM_0_Pin;
  GPIO_InitStruct.Mode = GPIO_MODE_OUTPUT_PP;
  GPIO_InitStruct.Pull = GPIO_NOPULL;
  GPIO_InitStruct.Speed = GPIO_SPEED_FREQ_LOW;
  HAL_GPIO_Init(GPIOE, &GPIO_InitStruct);

  /*Configure GPIO pins : PIN_CAM_EN_OUT_Pin PIN_BOOM_DEPLOY_EN_1_OUT_Pin PIN_BOOM_DEPLOY_EN_2_OUT_Pin */
  GPIO_InitStruct.Pin = PIN_CAM_EN_OUT_Pin|PIN_BOOM_DEPLOY_EN_1_OUT_Pin|PIN_BOOM_DEPLOY_EN_2_OUT_Pin;
  GPIO_InitStruct.Mode = GPIO_MODE_OUTPUT_PP;
  GPIO_InitStruct.Pull = GPIO_NOPULL;
  GPIO_InitStruct.Speed = GPIO_SPEED_FREQ_LOW;
  HAL_GPIO_Init(GPIOA, &GPIO_InitStruct);

  /*Configure GPIO pin : PIN_GNSS_PPS_IN_Pin */
  GPIO_InitStruct.Pin = PIN_GNSS_PPS_IN_Pin;
  GPIO_InitStruct.Mode = GPIO_MODE_INPUT;
  GPIO_InitStruct.Pull = GPIO_NOPULL;
  HAL_GPIO_Init(PIN_GNSS_PPS_IN_GPIO_Port, &GPIO_InitStruct);

  /*Configure GPIO pin : PIN_MEM_NCS_FLASH_3_Pin */
  GPIO_InitStruct.Pin = PIN_MEM_NCS_FLASH_3_Pin;
  GPIO_InitStruct.Mode = GPIO_MODE_OUTPUT_PP;
  GPIO_InitStruct.Pull = GPIO_NOPULL;
  GPIO_InitStruct.Speed = GPIO_SPEED_FREQ_LOW;
  HAL_GPIO_Init(PIN_MEM_NCS_FLASH_3_GPIO_Port, &GPIO_InitStruct);

  /*Configure GPIO pins : PIN_MEM_NCS_FLASH_2_Pin PIN_MEM_NCS_FLASH_1_Pin PIN_MPI_NEN_RX_MISO_OUT_Pin PIN_MPI_EN_TX_MOSI_OUT_Pin */
  GPIO_InitStruct.Pin = PIN_MEM_NCS_FLASH_2_Pin|PIN_MEM_NCS_FLASH_1_Pin|PIN_MPI_NEN_RX_MISO_OUT_Pin|PIN_MPI_EN_TX_MOSI_OUT_Pin;
  GPIO_InitStruct.Mode = GPIO_MODE_OUTPUT_PP;
  GPIO_InitStruct.Pull = GPIO_NOPULL;
  GPIO_InitStruct.Speed = GPIO_SPEED_FREQ_LOW;
  HAL_GPIO_Init(GPIOG, &GPIO_InitStruct);

  /*Configure GPIO pins : PIN_UHF_CTRL_OUT_Pin PIN_LED_DEVKIT_LD2_Pin */
  GPIO_InitStruct.Pin = PIN_UHF_CTRL_OUT_Pin|PIN_LED_DEVKIT_LD2_Pin;
  GPIO_InitStruct.Mode = GPIO_MODE_OUTPUT_PP;
  GPIO_InitStruct.Pull = GPIO_NOPULL;
  GPIO_InitStruct.Speed = GPIO_SPEED_FREQ_LOW;
  HAL_GPIO_Init(GPIOB, &GPIO_InitStruct);

  /*Configure GPIO pin : PIN_REMOVE_BEFORE_FLIGHT_LOW_IS_FLYING_IN_Pin */
  GPIO_InitStruct.Pin = PIN_REMOVE_BEFORE_FLIGHT_LOW_IS_FLYING_IN_Pin;
  GPIO_InitStruct.Mode = GPIO_MODE_INPUT;
  GPIO_InitStruct.Pull = GPIO_NOPULL;
  HAL_GPIO_Init(PIN_REMOVE_BEFORE_FLIGHT_LOW_IS_FLYING_IN_GPIO_Port, &GPIO_InitStruct);

  /*Configure GPIO pin : PIN_BOOT0_Pin */
  GPIO_InitStruct.Pin = PIN_BOOT0_Pin;
  GPIO_InitStruct.Mode = GPIO_MODE_INPUT;
  GPIO_InitStruct.Pull = GPIO_NOPULL;
  HAL_GPIO_Init(PIN_BOOT0_GPIO_Port, &GPIO_InitStruct);

}

void StartDefaultTask(void *argument)
{
  for(;;)
  {
    osDelay(1);
  }
}

void HAL_TIM_PeriodElapsedCallback(TIM_HandleTypeDef *htim)
{
  /* USER CODE BEGIN Callback 0 */

  extern uint32_t TIME_uptime_ms_from_tim6;

  /* USER CODE END Callback 0 */
  if (htim->Instance == TIM1) {
    HAL_IncTick();
  }
  /* USER CODE BEGIN Callback 1 */

  if (htim->Instance == TIM6) {
    TIME_uptime_ms_from_tim6++;
  }

  /* USER CODE END Callback 1 */
}

void Error_Handler(void)
{
  /* USER CODE BEGIN Error_Handler_Debug */
  /* User can add his own implementation to report the HAL error return state */
  __disable_irq();
  while (1)
  {
    // TODO: make this flight-ready
    DEBUG_uart_print_str("Error_Handler() called\n");
  }
  /* USER CODE END Error_Handler_Debug */
}

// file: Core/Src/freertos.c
/* USER CODE BEGIN Header */
/**
  ******************************************************************************
  * File Name          : freertos.c
  * Description        : Code for freertos applications
  ******************************************************************************
  * @attention
  *
  * Copyright (c) 2024 STMicroelectronics.
  * All rights reserved.
  *
  * This software is licensed under terms that can be found in the LICENSE file
  * in the root directory of this software component.
  * If no LICENSE file comes with this software, it is provided AS-IS.
  *
  ******************************************************************************
  */
/* USER CODE END Header */

#include "FreeRTOS.h"
#include "task.h"
#include "main.h"

/* USER CODE BEGIN Includes */
#include "log/log.h"
#include "log/lazy_file_log_sink.h"

/* USER CODE END Includes */

/* Hook prototypes */
void configureTimerForRunTimeStats(void);
unsigned long getRunTimeCounterValue(void);
void vApplicationIdleHook(void);
void vApplicationStackOverflowHook(xTaskHandle xTask, signed char *pcTaskName);
void vApplicationMallocFailedHook(void);

/* USER CODE BEGIN 1 */
/* Functions needed when configGENERATE_RUN_TIME_STATS is on */
__weak void configureTimerForRunTimeStats(void)
{
  HAL_TIM_Base_Start_IT(&htim16);
}

extern volatile unsigned long ulHighFrequencyTimerTicks;
__weak unsigned long getRunTimeCounterValue(void)
{
  return ulHighFrequencyTimerTicks;
}
/* USER CODE END 1 */

/* USER CODE BEGIN 2 */
void vApplicationIdleHook( void )
{
   /* vApplicationIdleHook() will only be called if configUSE_IDLE_HOOK is set
   to 1 in FreeRTOSConfig.h. It will be called on each iteration of the idle
   task. It is essential that code added to this hook function never attempts
   to block in any way (for example, call xQueueReceive() with a block time
   specified, or call vTaskDelay()). If the application makes use of the
   vTaskDelete() API function (as this demo application does) then it is also
   important that vApplicationIdleHook() is permitted to return to its calling
   function, because it is the responsibility of the idle task to clean up
   memory allocated by the kernel to any task that has since been deleted. */

  // Most basic implementation: Call idle.
  __WFI();

}
/* USER CODE END 2 */

/* USER CODE BEGIN 4 */
void vApplicationStackOverflowHook(xTaskHandle xTask, signed char *pcTaskName)
{
   /* Run time stack overflow checking is performed if
   configCHECK_FOR_STACK_OVERFLOW is defined to 1 or 2. This hook function is
   called if a stack overflow is detected. */

   LOG_message(
    LOG_SYSTEM_OBC, LOG_SEVERITY_WARNING, LOG_SINK_ALL,
    "vApplicationStackOverflowHook() -> FreeRTOS Stack Overflow in task %s",
    pcTaskName
   );
   LOG_emergency_sync_current_log_file();

   // Optionally, we could reboot here.
}
/* USER CODE END 4 */

/* USER CODE BEGIN 5 */
void vApplicationMallocFailedHook(void)
{
   /* vApplicationMallocFailedHook() will only be called if
   configUSE_MALLOC_FAILED_HOOK is set to 1 in FreeRTOSConfig.h. It is a hook
   function that will get called if a call to pvPortMalloc() fails.
   pvPortMalloc() is called internally by the kernel whenever a task, queue,
   timer or semaphore is created. It is also called by various parts of the
   demo application. If heap_1.c or heap_2.c are used, then the size of the
   heap available to pvPortMalloc() is defined by configTOTAL_HEAP_SIZE in
   FreeRTOSConfig.h, and the xPortGetFreeHeapSize() API function can be used
   to query the size of free heap space that remains (although it does not
   provide information on how the remaining heap might be fragmented). */

   // This means that, somewhere in the program, a null pointer was returned by a call to pvPortMalloc().
   // These cases should be handled somewhat-gracefully by code, so only a warning.
   LOG_message(
    LOG_SYSTEM_OBC, LOG_SEVERITY_WARNING, LOG_SINK_ALL,
    "vApplicationMallocFailedHook() -> FreeRTOS malloc failed"
   );
   LOG_emergency_sync_current_log_file();
}
/* USER CODE END 5 */

/* USER CODE BEGIN PREPOSTSLEEP */
__weak void PreSleepProcessing(uint32_t ulExpectedIdleTime)
{
/* place for user code */
}

__weak void PostSleepProcessing(uint32_t ulExpectedIdleTime)
{
/* place for user code */
}
/* USER CODE END PREPOSTSLEEP */
